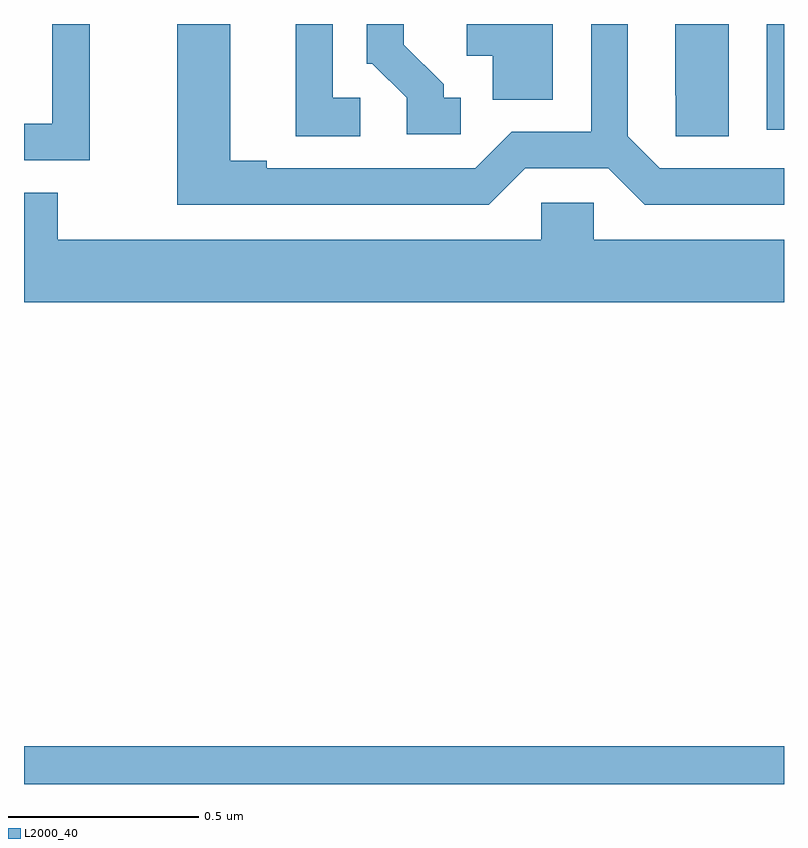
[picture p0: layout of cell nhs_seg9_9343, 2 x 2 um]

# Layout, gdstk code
import gdstk
lib = gdstk.Library(unit=1e-6, precision=1e-09)
def R(c, l, rs):  # rectangles x0, y0, x1, y1
    for r in rs: c.add(gdstk.rectangle(r[:2], r[2:], *l))
def P(c, l, *ps):  # polygons
    for p in ps: c.add(gdstk.Polygon(p, *l))
L2000_40 = (2000, 40)

nhs_seg9_9343 = lib.new_cell('nhs_seg9_9343')
R(nhs_seg9_9343, L2000_40, [(229,1180.5,231,1180.6), (230.954,1182.222,231,1182.5)])
P(nhs_seg9_9343, L2000_40, [(230.319,1182.12),(230.537,1182.12),(230.633,1182.024),(231,1182.024),(231,1182.12),(230.673,1182.12),(230.589,1182.204),(230.589,1182.5),(230.493,1182.5),(230.493,1182.216),(230.283,1182.216),(230.187,1182.12),(229.639,1182.12),(229.639,1182.14),(229.543,1182.14),(229.543,1182.5),(229.403,1182.5),(229.403,1182.024),(230.223,1182.024)],
  [(230.149,1182.306),(230.104,1182.306),(230.104,1182.341),(229.999,1182.446),(229.999,1182.5),(229.902,1182.5),(229.902,1182.396),(229.917,1182.396),(230.007,1182.306),(230.007,1182.21),(230.149,1182.21)],
  [(230.392,1182.5),(230.165,1182.5),(230.165,1182.416),(230.234,1182.416),(230.234,1182.301),(230.392,1182.301)],
  [(230.854,1182.5),(230.714,1182.5),(230.714,1182.313),(230.715,1182.313),(230.715,1182.205),(230.854,1182.205)],
  [(229.173,1182.5),(229.074,1182.5),(229.074,1182.238),(229.073,1182.238),(229.073,1182.237),(229,1182.237),(229,1182.141),(229.173,1182.141)],
  [(229.885,1182.306),(229.812,1182.306),(229.812,1182.5),(229.715,1182.5),(229.715,1182.205),(229.885,1182.205)],
  [(231,1181.932),(230.499,1181.932),(230.499,1182.03),(230.361,1182.03),(230.361,1181.932),(229.089,1181.932),(229.089,1182.056),(229,1182.056),(229,1181.768),(231,1181.768)])

lib.write_gds('nhs_seg9_9343.gds')
